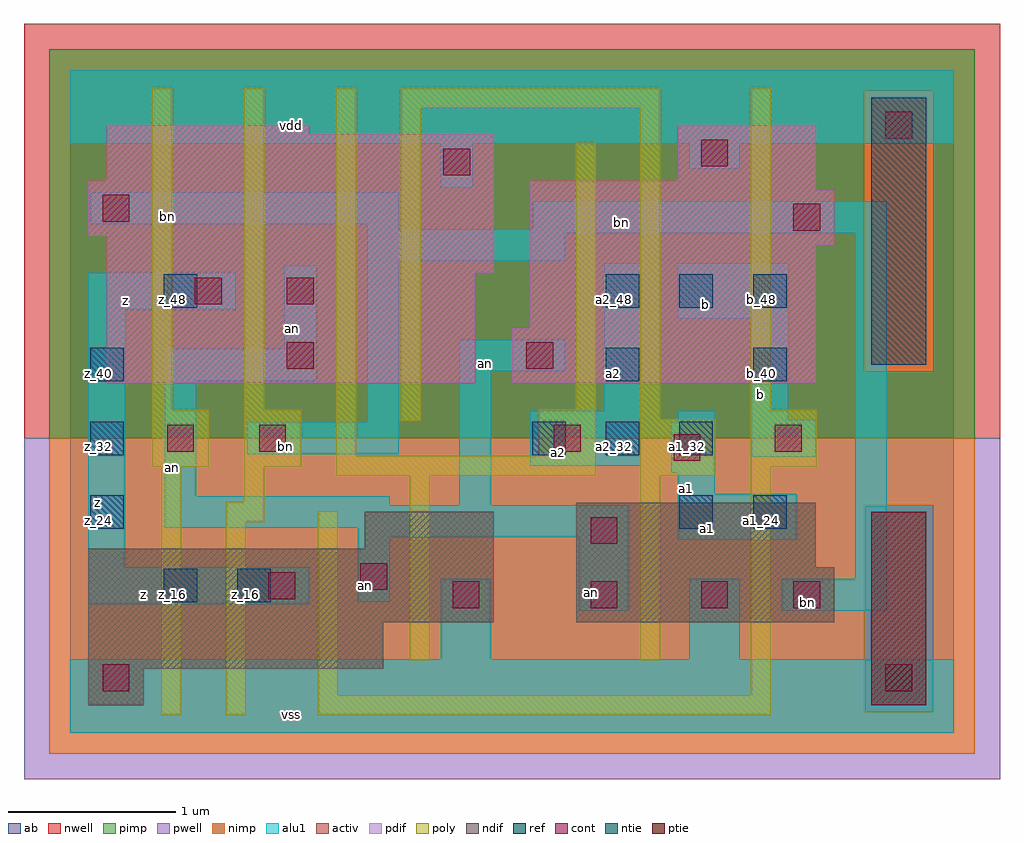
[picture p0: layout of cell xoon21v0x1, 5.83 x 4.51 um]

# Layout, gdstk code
import gdstk
lib = gdstk.Library(unit=1e-6, precision=2.5e-09)
def R(c, l, rs):  # rectangles x0, y0, x1, y1
    for r in rs: c.add(gdstk.rectangle(r[:2], r[2:], *l))
def A(c, l, x, y, w, h, nx, ny, dx, dy):  # array of equal rectangles
    R(c, l, [(x+i*dx, y+j*dy, x+i*dx+w, y+j*dy+h) for i in range(nx) for j in range(ny)])
ndif = (3, 0)
pdif = (4, 0)
ntie = (5, 0)
ptie = (6, 0)
ref = (24, 0)
cont = (25, 0)
pwell = (41, 0)
nwell = (42, 0)
activ = (43, 0)
pimp = (44, 0)
nimp = (45, 0)
poly = (46, 0)
alu1 = (49, 0)
ab = (63, 0)

xoon21v0x1 = lib.new_cell('xoon21v0x1')
R(xoon21v0x1, ndif, [(0.11,0.165,0.44,0.385), (0.11,0.385,1.87,0.66), (0.11,0.66,2.53,1.1), (3.025,0.66,4.565,0.99), (3.025,0.99,4.455,1.375), (1.76,1.1,2.53,1.32)])
R(xoon21v0x1, pdif, [(0.22,2.09,2.42,2.75), (2.64,2.09,4.455,2.42), (2.75,2.42,4.455,2.915), (0.22,2.75,2.53,2.97), (2.75,2.915,4.565,3.245), (0.11,2.97,2.53,3.3), (2.75,3.245,4.455,3.3), (0.22,3.3,2.53,3.575), (3.63,3.3,4.455,3.63), (0.22,3.575,1.43,3.63)])
R(xoon21v0x1, ntie, [(4.785,2.2,5.115,3.795)])
R(xoon21v0x1, ptie, [(4.785,0.165,5.115,1.32)])
A(xoon21v0x1, ref, 0.12, 1.22, 0.2, 0.2, 1, 3, 0, 0.44)
A(xoon21v0x1, ref, 2.76, 1.66, 0.2, 0.2, 3, 1, 0.44, 0)
A(xoon21v0x1, ref, 3.2, 2.54, 0.2, 0.2, 3, 1, 0.44, 0)
R(xoon21v0x1, ref, [(0.56,0.78,0.76,0.98), (1,0.78,1.2,0.98), (3.64,1.22,3.84,1.42), (4.08,1.22,4.28,1.42), (3.2,2.1,3.4,2.3), (4.08,2.1,4.28,2.3), (0.56,2.54,0.76,2.74)])
R(xoon21v0x1, cont, [(0.195,0.25,0.355,0.41), (4.87,0.25,5.03,0.41), (2.285,0.745,2.445,0.905), (3.11,0.745,3.27,0.905), (3.77,0.745,3.93,0.905), (4.32,0.745,4.48,0.905), (1.185,0.8,1.345,0.96), (1.735,0.855,1.895,1.015), (3.11,1.13,3.27,1.29), (3.605,1.625,3.765,1.785), (0.58,1.68,0.74,1.84), (1.13,1.68,1.29,1.84), (2.89,1.68,3.05,1.84), (4.21,1.68,4.37,1.84), (1.295,2.175,1.455,2.335), (2.725,2.175,2.885,2.335), (0.745,2.56,0.905,2.72), (1.295,2.56,1.455,2.72), (4.32,3,4.48,3.16), (0.195,3.055,0.355,3.215), (2.23,3.33,2.39,3.49), (3.77,3.385,3.93,3.545), (4.87,3.55,5.03,3.71)])
R(xoon21v0x1, pwell, [(-0.275,-0.275,5.555,1.76)])
R(xoon21v0x1, nwell, [(-0.275,1.76,5.555,4.235)])
R(xoon21v0x1, activ, [(0.11,0.165,0.44,0.385), (4.785,0.165,5.115,1.32), (0.11,0.385,1.87,0.66), (0.11,0.66,2.53,1.1), (3.025,0.66,4.565,0.99), (3.025,0.99,4.455,1.375), (1.76,1.1,2.53,1.32), (0.22,2.09,2.42,2.75), (2.64,2.09,4.455,2.42), (4.785,2.2,5.115,3.795), (2.75,2.42,4.455,2.915), (0.22,2.75,2.53,2.97), (2.75,2.915,4.565,3.245), (0.11,2.97,2.53,3.3), (2.75,3.245,4.455,3.3), (0.22,3.3,2.53,3.575), (3.63,3.3,4.455,3.63), (0.22,3.575,1.43,3.63)])
R(xoon21v0x1, pimp, [(4.745,0.125,5.155,1.36), (-0.125,1.76,5.405,2.16), (-0.125,2.16,4.745,3.835), (5.155,2.16,5.405,3.835), (-0.125,3.835,5.405,4.085)])
R(xoon21v0x1, nimp, [(-0.125,-0.125,5.405,0.125), (-0.125,0.125,4.745,1.36), (5.155,0.125,5.405,1.36), (-0.125,1.36,5.405,1.76), (4.745,2.16,5.155,3.835)])
R(xoon21v0x1, poly, [(0.545,0.105,0.665,1.59), (0.93,0.105,1.05,1.26), (1.48,0.105,4.185,0.225), (1.48,0.225,1.6,1.325), (4.065,0.225,4.185,1.59), (2.03,0.435,2.15,1.535), (3.405,0.435,3.525,1.535), (0.93,1.26,1.16,1.38), (1.04,1.38,1.16,1.59), (1.59,1.535,3.14,1.655), (3.405,1.535,3.855,1.875), (0.49,1.59,0.83,1.93), (1.04,1.59,1.38,1.93), (4.065,1.59,4.46,1.93), (1.59,1.655,1.71,3.855), (2.8,1.655,3.14,1.93), (1.975,1.865,2.095,3.735), (3.405,1.875,3.525,3.735), (0.49,1.93,0.61,3.855), (1.04,1.93,1.16,3.855), (3.02,1.93,3.14,3.525), (4.065,1.93,4.185,3.855), (1.975,3.735,3.525,3.855)])
R(xoon21v0x1, alu1, [(0,0,5.28,0.44), (2.215,0.44,2.515,0.92), (3.7,0.44,4,0.92), (3.04,0.73,3.34,1.17), (4.25,0.73,4.88,0.92), (0.11,0.77,1.43,0.99), (1.72,0.785,1.91,1.17), (4.69,0.92,4.88,2.985), (0.11,0.99,0.33,2.53), (3.63,1.155,4.345,1.43), (1.72,1.17,3.34,1.225), (0.565,1.225,3.34,1.36), (0.565,1.36,1.91,1.415), (2.325,1.36,2.515,2.16), (0.565,1.415,0.755,2.105), (3.63,1.43,3.85,1.555), (3.59,1.555,3.85,1.855), (2.75,1.595,3.41,1.925), (4.07,1.65,4.455,1.87), (1.06,1.665,1.965,1.855), (1.775,1.855,1.965,2.82), (3.63,1.855,3.85,1.925), (4.07,1.87,4.29,2.475), (3.19,1.925,3.41,2.805), (0.565,2.105,1.47,2.295), (2.325,2.16,2.955,2.35), (1.28,2.295,1.47,2.79), (3.63,2.475,4.29,2.805), (0.11,2.53,0.99,2.75), (1.775,2.82,2.955,2.985), (1.775,2.985,4.88,3.01), (1.775,3.01,1.965,3.04), (2.765,3.01,4.88,3.175), (0.125,3.04,1.965,3.23), (2.215,3.26,2.405,3.52), (3.7,3.37,4,3.52), (0,3.52,5.28,3.96)])
R(xoon21v0x1, ab, [(0,0,5.28,3.96)])
xoon21v0x1.add(gdstk.Label('vss', (1.32,0.11), layer=49, texttype=0))
xoon21v0x1.add(gdstk.Label('bn', (4.4075,0.7775), layer=49, texttype=0))
xoon21v0x1.add(gdstk.Label('a1', (3.8075,1.2225), layer=49, texttype=0))
xoon21v0x1.add(gdstk.Label('an', (3.115,0.84), layer=49, texttype=0))
xoon21v0x1.add(gdstk.Label('an', (1.7675,0.88), layer=49, texttype=0))
xoon21v0x1.add(gdstk.Label('z', (0.44,0.825), layer=49, texttype=0))
xoon21v0x1.add(gdstk.Label('a1', (3.685,1.46), layer=49, texttype=0))
xoon21v0x1.add(gdstk.Label('b', (4.125,2.02), layer=49, texttype=0))
xoon21v0x1.add(gdstk.Label('a2', (2.915,1.6775), layer=49, texttype=0))
xoon21v0x1.add(gdstk.Label('b', (3.795,2.5575), layer=49, texttype=0))
xoon21v0x1.add(gdstk.Label('a2', (3.245,2.145), layer=49, texttype=0))
xoon21v0x1.add(gdstk.Label('an', (2.4825,2.2075), layer=49, texttype=0))
xoon21v0x1.add(gdstk.Label('bn', (1.285,1.7125), layer=49, texttype=0))
xoon21v0x1.add(gdstk.Label('an', (0.6125,1.5875), layer=49, texttype=0))
xoon21v0x1.add(gdstk.Label('an', (1.3275,2.4175), layer=49, texttype=0))
xoon21v0x1.add(gdstk.Label('z', (0.165,1.375), layer=49, texttype=0))
xoon21v0x1.add(gdstk.Label('z', (0.33,2.585), layer=49, texttype=0))
xoon21v0x1.add(gdstk.Label('bn', (3.2925,3.05), layer=49, texttype=0))
xoon21v0x1.add(gdstk.Label('bn', (0.585,3.0875), layer=49, texttype=0))
xoon21v0x1.add(gdstk.Label('vdd', (1.32,3.63), layer=49, texttype=0))
xoon21v0x1.add(gdstk.Label('z_16', (0.61,0.83), layer=24, texttype=0))
xoon21v0x1.add(gdstk.Label('z_48', (0.61,2.59), layer=24, texttype=0))
xoon21v0x1.add(gdstk.Label('z_16', (1.05,0.83), layer=24, texttype=0))
xoon21v0x1.add(gdstk.Label('z_24', (0.17,1.27), layer=24, texttype=0))
xoon21v0x1.add(gdstk.Label('z_32', (0.17,1.71), layer=24, texttype=0))
xoon21v0x1.add(gdstk.Label('z_40', (0.17,2.15), layer=24, texttype=0))
xoon21v0x1.add(gdstk.Label('a2_32', (2.81,1.71), layer=24, texttype=0))
xoon21v0x1.add(gdstk.Label('a2_32', (3.25,1.71), layer=24, texttype=0))
xoon21v0x1.add(gdstk.Label('a2_40', (3.25,2.15), layer=24, texttype=0))
xoon21v0x1.add(gdstk.Label('a2_48', (3.25,2.59), layer=24, texttype=0))
xoon21v0x1.add(gdstk.Label('a1_24', (3.69,1.27), layer=24, texttype=0))
xoon21v0x1.add(gdstk.Label('a1_32', (3.69,1.71), layer=24, texttype=0))
xoon21v0x1.add(gdstk.Label('b_48', (3.69,2.59), layer=24, texttype=0))
xoon21v0x1.add(gdstk.Label('a1_24', (4.13,1.27), layer=24, texttype=0))
xoon21v0x1.add(gdstk.Label('b_40', (4.13,2.15), layer=24, texttype=0))
xoon21v0x1.add(gdstk.Label('b_48', (4.13,2.59), layer=24, texttype=0))

lib.write_gds('xoon21v0x1.gds')
